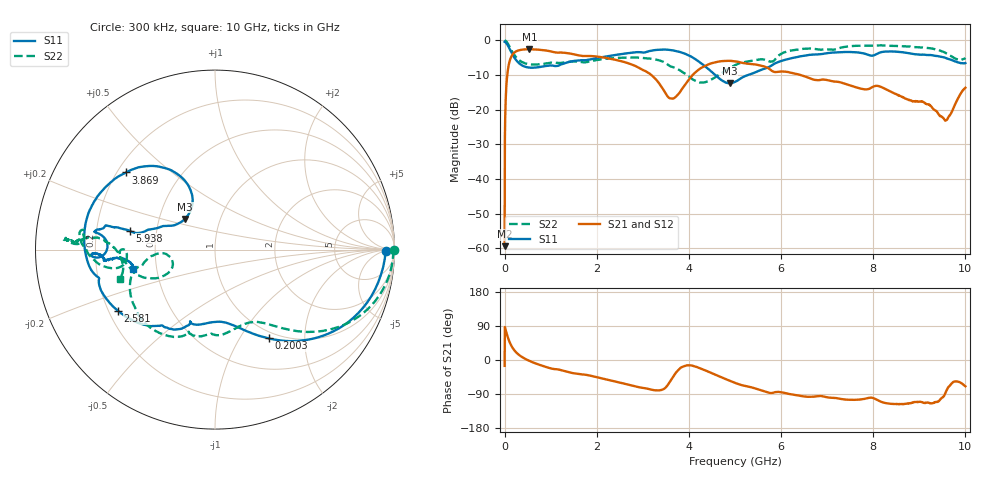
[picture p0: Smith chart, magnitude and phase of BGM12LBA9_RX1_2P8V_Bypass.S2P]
!Agilent Technologies,E5071C,MY46316587,B.13.01
!Date: Tue Sep 12 11:07:49 2017
!Data & Calibration Information:
!Freq	S11:SOLT2(ON)	S21:SOLT2(ON)	S12:SOLT2(ON)	S22:SOLT2(ON)
!PortZ  Port1:50+j0  Port2:50+j0
!Above PortZ is port z conversion or system Z0 setting when saving the data.
!When reading, reference impedance value at option line is always used.
# Hz S dB R 50
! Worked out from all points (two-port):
!   1601 points, 300 kHz to 10 GHz, reference 50 ohm
!   highest |S21| = -2.59 dB at 537.8 MHz (marker M1); lowest = -59.4 dB at 300 kHz (marker M2)
!   |S21| within 3 dB of the highest: 118.8 MHz to 2.391 GHz (2.272 GHz wide, 181 % of centre)
!   lowest |S11| = -12.4 dB at 4.881 GHz (marker M3), VSWR 1.63, Z = 33.9 + j12.3 ohm
!   |S11| at or under -10 dB: 4.569 GHz to 5.282 GHz (712.7 MHz wide, 14.5 % of centre)
!   |S22| runs from -12.2 to 0.0 dB; largest |S21 - S12| = 0.0026
!   S11 on the Smith chart (normalised r, x): 300 kHz: 40, -4; 200.3 MHz: 0.90, -1.34; 2.581 GHz: 0.24, -0.27; 3.869 GHz: 0.24, +0.36; 5.938 GHz: 0.35, +0.10; 10 GHz: 0.37, -0.10
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300000  -0.43 -0.3  -59.41 -15.5  -52.44 71.6  -0.05 -0.2
5.654831e7  -1.18 -23.8  -10.21 65.1  -10.20 65.2  -0.67 -19.5
6.279812e7  -1.31 -26.1  -9.44 62.7  -9.44 62.9  -0.80 -21.4
1.127966e8  -2.58 -41.7  -5.85 46.2  -5.85 46.2  -2.00 -33.6
2.00294e8  -4.76 -58.9  -3.68 27.3  -3.68 27.4  -4.03 -45.8
5.377839e8  -7.88 -85.4  -2.59 -2.4  -2.58 -2.4  -6.92 -64.0
9.752708e8  -7.28 -105.1  -3.13 -21.2  -3.12 -21.2  -6.53 -83.4
1.669e9  -5.76 -123.5  -4.48 -38.0  -4.48 -38.0  -6.29 -107.5
2.581473e9  -3.88 -147.7  -6.21 -62.0  -6.22 -62.0  -5.00 -127.2
3.3377e9  -2.74 177.0  -12.16 -80.3  -12.14 -80.3  -5.73 -156.5
3.606442e9  -2.82 157.6  -16.78 -53.4  -16.80 -53.4  -7.56 -167.5
3.868934e9  -3.66 139.0  -13.71 -17.6  -13.71 -17.7  -9.23 -174.7
4.306421e9  -7.04 114.9  -7.68 -25.1  -7.67 -25.2  -12.17 -163.2
4.881404e9  -12.42 134.3  -5.93 -54.5  -5.93 -54.7  -8.08 -156.2
5.00015e9  -12.00 144.9  -6.06 -60.3  -6.05 -60.4  -7.18 -159.9
5.67513e9  -8.04 164.5  -7.77 -84.0  -7.76 -84.1  -5.72 179.8
5.937622e9  -6.25 167.5  -9.11 -84.1  -9.10 -84.2  -4.52 -170.1
6.66885e9  -4.14 167.5  -11.17 -97.3  -11.18 -97.3  -2.39 172.4
8.33755e9  -3.21 -177.5  -14.54 -114.9  -14.53 -115.0  -1.57 175.9
9.212524e9  -4.24 -174.3  -18.54 -113.4  -18.51 -113.3  -2.27 176.6
9.568763e9  -5.08 -175.1  -23.15 -86.8  -23.14 -87.0  -3.64 174.3
1e10  -6.60 -166.4  -13.69 -69.4  -13.65 -69.3  -5.11 -162.6
